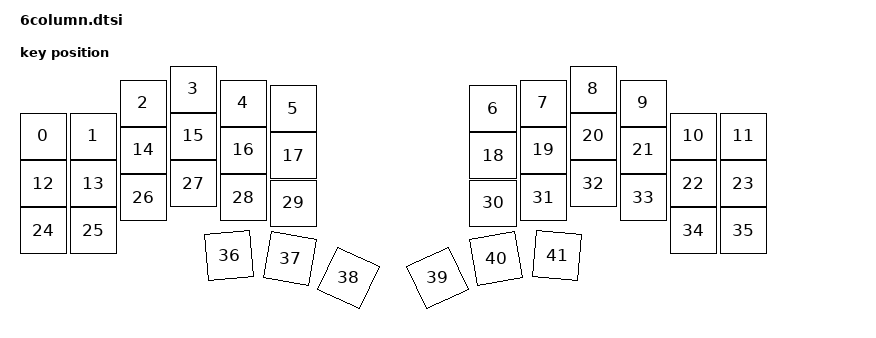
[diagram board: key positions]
#include <layouts/beekeeb/piantor/position_map.dtsi>
#include <physical_layouts.dtsi>

/ {
    beekeeb_piantor_6col_layout: beekeeb_piantor_6col_layout {
        compatible = "zmk,physical-layout";
        display-name = "6 Column";

        keys  //                     w   h    x    y     rot    rx    ry
            = <&key_physical_attrs 100 100    0   94       0     0     0>
            , <&key_physical_attrs 100 100  100   94       0     0     0>
            , <&key_physical_attrs 100 100  200   28       0     0     0>
            , <&key_physical_attrs 100 100  300    0       0     0     0>
            , <&key_physical_attrs 100 100  400   28       0     0     0>
            , <&key_physical_attrs 100 100  500   39       0     0     0>
            , <&key_physical_attrs 100 100  900   39       0     0     0>
            , <&key_physical_attrs 100 100 1000   28       0     0     0>
            , <&key_physical_attrs 100 100 1100    0       0     0     0>
            , <&key_physical_attrs 100 100 1200   28       0     0     0>
            , <&key_physical_attrs 100 100 1300   94       0     0     0>
            , <&key_physical_attrs 100 100 1400   94       0     0     0>
            , <&key_physical_attrs 100 100    0  189       0     0     0>
            , <&key_physical_attrs 100 100  100  189       0     0     0>
            , <&key_physical_attrs 100 100  200  122       0     0     0>
            , <&key_physical_attrs 100 100  300   94       0     0     0>
            , <&key_physical_attrs 100 100  400  122       0     0     0>
            , <&key_physical_attrs 100 100  500  133       0     0     0>
            , <&key_physical_attrs 100 100  900  133       0     0     0>
            , <&key_physical_attrs 100 100 1000  122       0     0     0>
            , <&key_physical_attrs 100 100 1100   94       0     0     0>
            , <&key_physical_attrs 100 100 1200  122       0     0     0>
            , <&key_physical_attrs 100 100 1300  189       0     0     0>
            , <&key_physical_attrs 100 100 1400  189       0     0     0>
            , <&key_physical_attrs 100 100    0  283       0     0     0>
            , <&key_physical_attrs 100 100  100  283       0     0     0>
            , <&key_physical_attrs 100 100  200  217       0     0     0>
            , <&key_physical_attrs 100 100  300  189       0     0     0>
            , <&key_physical_attrs 100 100  400  217       0     0     0>
            , <&key_physical_attrs 100 100  500  228       0     0     0>
            , <&key_physical_attrs 100 100  900  228       0     0     0>
            , <&key_physical_attrs 100 100 1000  217       0     0     0>
            , <&key_physical_attrs 100 100 1100  189       0     0     0>
            , <&key_physical_attrs 100 100 1200  217       0     0     0>
            , <&key_physical_attrs 100 100 1300  283       0     0     0>
            , <&key_physical_attrs 100 100 1400  283       0     0     0>
            , <&key_physical_attrs 100 100  372  333    (-500)  422   383>
            , <&key_physical_attrs 100 100  494  339    1000   544   389>
            , <&key_physical_attrs 100 100  611  378    2500   661   428>
            , <&key_physical_attrs 100 100  789  378  (-2500)  839   428>
            , <&key_physical_attrs 100 100  906  339  (-1000)  956   389>
            , <&key_physical_attrs 100 100 1028  333     500  1078   383>
            ;
    };
};

&layouts_beekeeb_piantor_position_map {
    beekeeb_piantor_6col_posmap: six {
        physical-layout = <&beekeeb_piantor_6col_layout>;
        positions
            = < 0  1  2  3  4  5  6  7  8  9 10 11>
            , <12 13 14 15 16 17 18 19 20 21 22 23>
            , <24 25 26 27 28 29 30 31 32 33 34 35>
            , <         36 37 38 39 40 41         >;
    };
};
